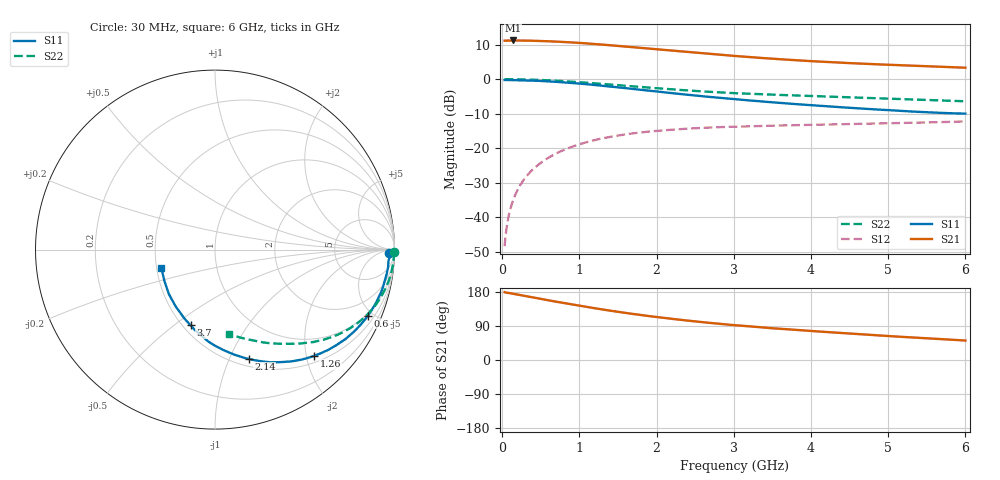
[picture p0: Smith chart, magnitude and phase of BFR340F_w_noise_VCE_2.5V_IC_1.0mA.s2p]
! Infineon Technologies  Discrete & RF Semiconductors
! BFR340F
! VCE =  2.5 V,  IC =  1.0 mA
! Common Emitter S-Parameters:  Nov 2015
# GHz  S  MA  R  50
!  f  S11  S21  S12  S22
! GHz  MAG  ANG  MAG  ANG  MAG  ANG  MAG  ANG
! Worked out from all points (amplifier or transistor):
!   206 points, 30 MHz to 6 GHz, reference 50 ohm
!   highest |S21| = 11.2 dB at 140 MHz (marker M1)
!   |S21| within 3 dB of that: start of sweep to 2.216 GHz
!   unconditionally stable (mu >= 1): 5.736 GHz to end of sweep
!   at 200 MHz: K = 0.04, MSG = 21.6 dB, |S12| = -32.0 dB
!   at 1.56 GHz: K = 0.36, MSG = 12.8 dB, |S12| = -16.1 dB
!   at 6 GHz: K = 1.02, MAG = 6.9 dB, |S12| = -12.3 dB
!   lowest NFmin = 0.63 dB at 450 MHz
!   S11 on the Smith chart (normalised r, x): 30 MHz: 45, -33; 600 MHz: 0.88, -4.69; 1.26 GHz: 0.63, -2.15; 2.14 GHz: 0.58, -1.18; 3.7 GHz: 0.55, -0.57; 6 GHz: 0.53, -0.12
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0.03  0.9714 -1.2  3.606 179.0  0.0038 87.9  0.9983 -0.8
0.05  0.9751 -2.0  3.599 177.6  0.0063 89.5  0.9975 -1.3
0.08  0.972 -3.0  3.618 177.1  0.0101 88.0  0.9978 -2.2
0.14  0.9697 -5.5  3.634 174.8  0.0176 86.5  0.9963 -3.9
0.22  0.9649 -8.7  3.631 171.8  0.0276 84.2  0.9929 -6.1
0.32  0.9589 -12.5  3.616 168.0  0.0399 81.6  0.9871 -8.8
0.45  0.9473 -17.5  3.584 163.2  0.0555 78.4  0.9772 -12.2
0.6  0.9289 -23.3  3.536 157.5  0.0729 74.7  0.9616 -16.0
0.8  0.8985 -30.7  3.448 150.2  0.0945 69.9  0.9348 -21.1
1.04  0.8543 -39.3  3.324 141.9  0.1175 64.5  0.897 -26.8
1.26  0.8103 -46.9  3.189 134.6  0.1358 59.9  0.8594 -31.5
1.6  0.7388 -57.9  2.97 124.0  0.1586 53.8  0.8003 -38.1
2.02  0.6586 -69.7  2.693 112.8  0.1786 48.0  0.7358 -44.7
2.14  0.6367 -72.9  2.617 110.0  0.183 46.6  0.719 -46.4
2.58  0.567 -84.3  2.374 100.1  0.1964 42.4  0.6655 -52.1
2.82  0.5357 -89.9  2.255 95.3  0.2017 40.7  0.6423 -54.8
3.1  0.5024 -95.9  2.13 90.5  0.2063 39.1  0.6205 -57.5
3.5  0.4615 -104.2  1.975 83.7  0.2119 37.5  0.5956 -60.9
3.7  0.4433 -107.9  1.911 81.0  0.2142 37.2  0.5852 -62.2
4.1  0.4117 -116.0  1.798 75.2  0.2189 36.8  0.5648 -64.9
5.1  0.3504 -138.5  1.599 62.0  0.2306 37.0  0.5157 -72.9
6  0.3164 -160.6  1.464 51.4  0.2438 39.1  0.4774 -80.5
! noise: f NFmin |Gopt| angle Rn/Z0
0.45  0.63  0.86  4  0.63
0.9  0.69  0.79  13  0.66
1.9  1.1  0.64  26  0.57
2.4  1.18  0.61  34  0.54
